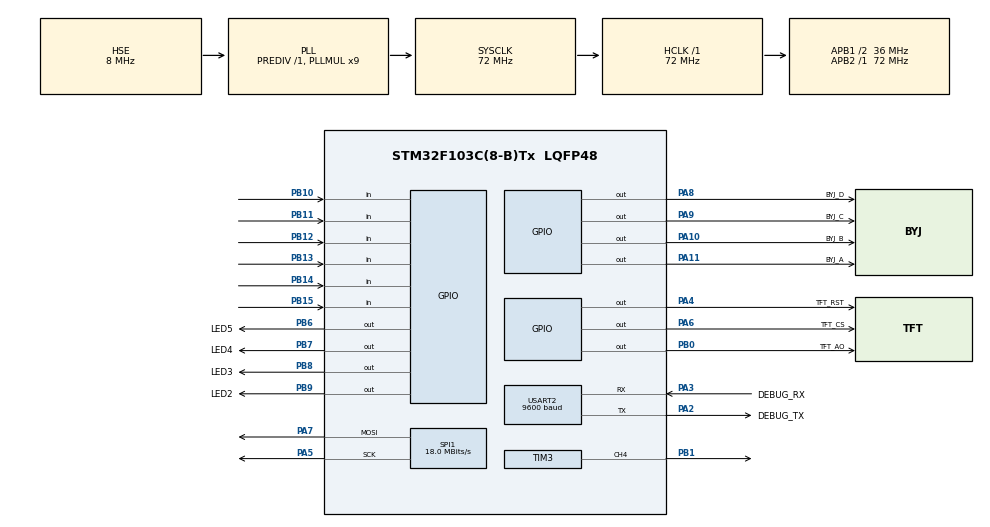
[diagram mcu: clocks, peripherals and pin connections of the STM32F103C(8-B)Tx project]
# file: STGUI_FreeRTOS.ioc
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FREERTOS.Queues01=Button_Index,1,uint8_t,0,Dynamic,NULL,NULL
FREERTOS.Tasks01=GUI_Task,0,1024,Start_GUI_Task,Default,NULL,Dynamic,NULL,NULL;Button_Scan,0,64,Start_Button_Scan,Default,NULL,Dynamic,NULL,NULL;LED_Task,0,64,Start_LED_Task,Default,NULL,Dynamic,NULL,NULL;BYJ_Forward,0,64,Start_BYJ_Forward,Default,NULL,Dynamic,NULL,NULL;BYJ_Backward,0,64,Start_BYJ_Backward,Default,NULL,Dynamic,NULL,NULL
FREERTOS.configMINIMAL_STACK_SIZE=64
FREERTOS.configTOTAL_HEAP_SIZE=10240
Mcu.Family=STM32F1
Mcu.Name=STM32F103C(8-B)Tx
Mcu.Package=LQFP48
NVIC.PriorityGroup=NVIC_PRIORITYGROUP_4
NVIC.TIM4_IRQn=true\:0\:0\:false\:false\:true\:false\:false
NVIC.TimeBase=TIM4_IRQn
NVIC.TimeBaseIP=TIM4
PA10.GPIO_Label=BYJ_B
PA10.GPIO_ModeDefaultOutputPP=GPIO_MODE_OUTPUT_PP
PA10.GPIO_Speed=GPIO_SPEED_FREQ_HIGH
PA10.PinState=GPIO_PIN_RESET
PA10.Signal=GPIO_Output
PA11.GPIO_Label=BYJ_A
PA11.GPIO_ModeDefaultOutputPP=GPIO_MODE_OUTPUT_PP
PA11.GPIO_Speed=GPIO_SPEED_FREQ_HIGH
PA11.PinState=GPIO_PIN_RESET
PA11.Signal=GPIO_Output
PA13.Mode=Serial_Wire
PA13.Signal=SYS_JTMS-SWDIO
PA14.Mode=Serial_Wire
PA14.Signal=SYS_JTCK-SWCLK
PA2.GPIO_Label=DEBUG_TX
PA2.Mode=Asynchronous
PA2.Signal=USART2_TX
PA3.GPIO_Label=DEBUG_RX
PA3.Mode=Asynchronous
PA3.Signal=USART2_RX
PA4.GPIO_Label=TFT_RST
PA4.GPIO_ModeDefaultOutputPP=GPIO_MODE_OUTPUT_PP
PA4.GPIO_Speed=GPIO_SPEED_FREQ_HIGH
PA4.PinState=GPIO_PIN_RESET
PA4.Signal=GPIO_Output
PA5.Mode=TX_Only_Simplex_Unidirect_Master
PA5.Signal=SPI1_SCK
PA6.GPIO_Label=TFT_CS
PA6.GPIO_ModeDefaultOutputPP=GPIO_MODE_OUTPUT_PP
PA6.GPIO_Speed=GPIO_SPEED_FREQ_HIGH
PA6.PinState=GPIO_PIN_RESET
PA6.Signal=GPIO_Output
PA7.Mode=TX_Only_Simplex_Unidirect_Master
PA7.Signal=SPI1_MOSI
PA8.GPIO_Label=BYJ_D
PA8.GPIO_ModeDefaultOutputPP=GPIO_MODE_OUTPUT_PP
PA8.GPIO_Speed=GPIO_SPEED_FREQ_HIGH
PA8.PinState=GPIO_PIN_RESET
PA8.Signal=GPIO_Output
PA9.GPIO_Label=BYJ_C
PA9.GPIO_ModeDefaultOutputPP=GPIO_MODE_OUTPUT_PP
PA9.GPIO_Speed=GPIO_SPEED_FREQ_HIGH
PA9.PinState=GPIO_PIN_RESET
PA9.Signal=GPIO_Output
PB0.GPIO_Label=TFT_AO
PB0.GPIO_Speed=GPIO_SPEED_FREQ_HIGH
PB0.Signal=GPIO_Output
PB1.Signal=S_TIM3_CH4
PB10.GPIO_Mode=GPIO_MODE_INPUT
PB10.GPIO_PuPd=GPIO_PULLUP
PB10.Signal=GPIO_Input
PB11.GPIO_Mode=GPIO_MODE_INPUT
PB11.GPIO_PuPd=GPIO_PULLUP
PB11.Signal=GPIO_Input
PB12.GPIO_Mode=GPIO_MODE_INPUT
PB12.GPIO_PuPd=GPIO_PULLUP
PB12.Signal=GPIO_Input
PB13.GPIO_Mode=GPIO_MODE_INPUT
PB13.GPIO_PuPd=GPIO_PULLUP
PB13.Signal=GPIO_Input
PB14.GPIO_Mode=GPIO_MODE_INPUT
PB14.GPIO_PuPd=GPIO_PULLUP
PB14.Signal=GPIO_Input
PB15.GPIO_Mode=GPIO_MODE_INPUT
PB15.GPIO_PuPd=GPIO_PULLUP
PB15.Signal=GPIO_Input
PB6.GPIO_Label=LED5
PB6.GPIO_Speed=GPIO_SPEED_FREQ_HIGH
PB6.PinState=GPIO_PIN_SET
PB6.Signal=GPIO_Output
PB7.GPIO_Label=LED4
PB7.GPIO_Speed=GPIO_SPEED_FREQ_HIGH
PB7.PinState=GPIO_PIN_SET
PB7.Signal=GPIO_Output
PB8.GPIO_Label=LED3
PB8.GPIO_Speed=GPIO_SPEED_FREQ_HIGH
PB8.PinState=GPIO_PIN_SET
PB8.Signal=GPIO_Output
PB9.GPIO_Label=LED2
PB9.GPIO_Speed=GPIO_SPEED_FREQ_HIGH
PB9.PinState=GPIO_PIN_SET
PB9.Signal=GPIO_Output
PC14-OSC32_IN.Mode=LSE-External-Oscillator
PC14-OSC32_IN.Signal=RCC_OSC32_IN
PC15-OSC32_OUT.Mode=LSE-External-Oscillator
PC15-OSC32_OUT.Signal=RCC_OSC32_OUT
PD0-OSC_IN.Mode=HSE-External-Oscillator
PD0-OSC_IN.Signal=RCC_OSC_IN
PD1-OSC_OUT.Mode=HSE-External-Oscillator
PD1-OSC_OUT.Signal=RCC_OSC_OUT
ProjectManager.HeapSize=0x200
ProjectManager.StackSize=0x400
ProjectManager.TargetToolchain=MDK-ARM V5
RCC.AHBFreq_Value=72000000
RCC.APB1CLKDivider=RCC_HCLK_DIV2
RCC.APB1Freq_Value=36000000
RCC.APB1TimFreq_Value=72000000
RCC.APB2Freq_Value=72000000
RCC.APB2TimFreq_Value=72000000
RCC.HCLKFreq_Value=72000000
RCC.PLLMUL=RCC_PLL_MUL9
RCC.PLLSourceVirtual=RCC_PLLSOURCE_HSE
RCC.SYSCLKFreq_VALUE=72000000
RCC.SYSCLKSource=RCC_SYSCLKSOURCE_PLLCLK
RCC.USBFreq_Value=72000000
SH.S_TIM3_CH4.0=TIM3_CH4,PWM Generation4 CH4
SPI1.BaudRatePrescaler=SPI_BAUDRATEPRESCALER_4
SPI1.CLKPhase=SPI_PHASE_2EDGE
SPI1.CLKPolarity=SPI_POLARITY_HIGH
SPI1.CalculateBaudRate=18.0 MBits/s
SPI1.Direction=SPI_DIRECTION_2LINES
SPI1.Mode=SPI_MODE_MASTER
SPI1.VirtualType=VM_MASTER
TIM3.Channel-PWM\ Generation4\ CH4=TIM_CHANNEL_4
TIM3.Period=11
TIM3.Prescaler=65535
TIM3.Pulse-PWM\ Generation4\ CH4=11
USART2.BaudRate=9600
USART2.VirtualMode=VM_ASYNC
VP_CRC_VS_CRC.Mode=CRC_Activate
VP_FREERTOS_VS_ENABLE.Mode=Enabled
VP_SYS_VS_tim4.Mode=TIM4
VP_TIM3_VS_ClockSourceINT.Mode=Internal
board=STGUI_FreeRTOS

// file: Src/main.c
/**
  ******************************************************************************
  * @file           : main.c
  * @brief          : Main program body
  ******************************************************************************
  * This notice applies to any and all portions of this file
  * that are not between comment pairs USER CODE BEGIN and
  * USER CODE END. Other portions of this file, whether
  * inserted by the user or by software development tools
  * are owned by their respective copyright owners.
  *
  * Copyright (c) 2018 STMicroelectronics International N.V.
  * All rights reserved.
  *
  * Redistribution and use in source and binary forms, with or without
  * modification, are permitted, provided that the following conditions are met:
  *
  * 1. Redistribution of source code must retain the above copyright notice,
  *    this list of conditions and the following disclaimer.
  * 2. Redistributions in binary form must reproduce the above copyright notice,
  *    this list of conditions and the following disclaimer in the documentation
  *    and/or other materials provided with the distribution.
  * 3. Neither the name of STMicroelectronics nor the names of other
  *    contributors to this software may be used to endorse or promote products
  *    derived from this software without specific written permission.
  * 4. This software, including modifications and/or derivative works of this
  *    software, must execute solely and exclusively on microcontroller or
  *    microprocessor devices manufactured by or for STMicroelectronics.
  * 5. Redistribution and use of this software other than as permitted under
  *    this license is void and will automatically terminate your rights under
  *    this license.
  *
  * THIS SOFTWARE IS PROVIDED BY STMICROELECTRONICS AND CONTRIBUTORS "AS IS"
  * AND ANY EXPRESS, IMPLIED OR STATUTORY WARRANTIES, INCLUDING, BUT NOT
  * LIMITED TO, THE IMPLIED WARRANTIES OF MERCHANTABILITY, FITNESS FOR A
  * PARTICULAR PURPOSE AND NON-INFRINGEMENT OF THIRD PARTY INTELLECTUAL PROPERTY
  * RIGHTS ARE DISCLAIMED TO THE FULLEST EXTENT PERMITTED BY LAW. IN NO EVENT
  * SHALL STMICROELECTRONICS OR CONTRIBUTORS BE LIABLE FOR ANY DIRECT, INDIRECT,
  * INCIDENTAL, SPECIAL, EXEMPLARY, OR CONSEQUENTIAL DAMAGES (INCLUDING, BUT NOT
  * LIMITED TO, PROCUREMENT OF SUBSTITUTE GOODS OR SERVICES; LOSS OF USE, DATA,
  * OR PROFITS; OR BUSINESS INTERRUPTION) HOWEVER CAUSED AND ON ANY THEORY OF
  * LIABILITY, WHETHER IN CONTRACT, STRICT LIABILITY, OR TORT (INCLUDING
  * NEGLIGENCE OR OTHERWISE) ARISING IN ANY WAY OUT OF THE USE OF THIS SOFTWARE,
  * EVEN IF ADVISED OF THE POSSIBILITY OF SUCH DAMAGE.
  *
  ******************************************************************************
  */
#include "main.h"
#include "stm32f1xx_hal.h"
#include "cmsis_os.h"

/* USER CODE BEGIN Includes */
#include "GUI.h"
#include "BSP_Button.h"
#include "BSP_LED.h"
#include "DIALOG.h"
#include "BSP_24BYJ.h"
/* USER CODE END Includes */

CRC_HandleTypeDef hcrc;

SPI_HandleTypeDef hspi1;

TIM_HandleTypeDef htim3;

UART_HandleTypeDef huart2;

osThreadId GUI_TaskHandle;
osThreadId Button_ScanHandle;
osThreadId LED_TaskHandle;
osThreadId BYJ_ForwardHandle;
osThreadId BYJ_BackwardHandle;
osMessageQId Button_IndexHandle;

/* USER CODE BEGIN PV */
/* Private variables ---------------------------------------------------------*/

/* USER CODE END PV */

void SystemClock_Config(void);
static void MX_GPIO_Init(void);
static void MX_USART2_UART_Init(void);
static void MX_CRC_Init(void);
static void MX_TIM3_Init(void);
static void MX_SPI1_Init(void);
void Start_GUI_Task(void const * argument);
void Start_Button_Scan(void const * argument);
void Start_LED_Task(void const * argument);
void Start_BYJ_Forward(void const * argument);
void Start_BYJ_Backward(void const * argument);

void HAL_TIM_MspPostInit(TIM_HandleTypeDef *htim);

/* USER CODE BEGIN PFP */
/* Private function prototypes -----------------------------------------------*/
WM_HWIN CreateWindow(void);
/* USER CODE END PFP */

int main(void)
{

  /* MCU Configuration----------------------------------------------------------*/

  /* Reset of all peripherals, Initializes the Flash interface and the Systick. */
  HAL_Init();

  /* Configure the system clock */
  SystemClock_Config();

  /* Initialize all configured peripherals */
  MX_GPIO_Init();
  MX_USART2_UART_Init();
  MX_CRC_Init();
  MX_TIM3_Init();
  MX_SPI1_Init();
  /* USER CODE BEGIN 2 */
   HAL_TIM_Base_Start(&htim3);
   HAL_TIM_PWM_Start(&htim3,TIM_CHANNEL_4);

   __HAL_RCC_CRC_CLK_ENABLE();
  /* USER CODE END 2 */

  /* Create the thread(s) */
  /* definition and creation of GUI_Task */
  osThreadDef(GUI_Task, Start_GUI_Task, osPriorityNormal, 0, 1024);
  GUI_TaskHandle = osThreadCreate(osThread(GUI_Task), NULL);

  /* definition and creation of Button_Scan */
  osThreadDef(Button_Scan, Start_Button_Scan, osPriorityNormal, 0, 64);
  Button_ScanHandle = osThreadCreate(osThread(Button_Scan), NULL);

  /* definition and creation of LED_Task */
  osThreadDef(LED_Task, Start_LED_Task, osPriorityNormal, 0, 64);
  LED_TaskHandle = osThreadCreate(osThread(LED_Task), NULL);

  /* definition and creation of BYJ_Forward */
  osThreadDef(BYJ_Forward, Start_BYJ_Forward, osPriorityNormal, 0, 64);
  BYJ_ForwardHandle = osThreadCreate(osThread(BYJ_Forward), NULL);

  /* definition and creation of BYJ_Backward */
  osThreadDef(BYJ_Backward, Start_BYJ_Backward, osPriorityNormal, 0, 64);
  BYJ_BackwardHandle = osThreadCreate(osThread(BYJ_Backward), NULL);

  /* Create the queue(s) */
  /* definition and creation of Button_Index */
  osMessageQDef(Button_Index, 1, uint8_t);
  Button_IndexHandle = osMessageCreate(osMessageQ(Button_Index), NULL);

  /* Start scheduler */
  osKernelStart();

  /* We should never get here as control is now taken by the scheduler */

  /* Infinite loop */
  while (1)
  {

  }

}

void SystemClock_Config(void)
{

  RCC_OscInitTypeDef RCC_OscInitStruct;
  RCC_ClkInitTypeDef RCC_ClkInitStruct;

    /**Initializes the CPU, AHB and APB busses clocks
    */
  RCC_OscInitStruct.OscillatorType = RCC_OSCILLATORTYPE_HSE;
  RCC_OscInitStruct.HSEState = RCC_HSE_ON;
  RCC_OscInitStruct.HSEPredivValue = RCC_HSE_PREDIV_DIV1;
  RCC_OscInitStruct.HSIState = RCC_HSI_ON;
  RCC_OscInitStruct.PLL.PLLState = RCC_PLL_ON;
  RCC_OscInitStruct.PLL.PLLSource = RCC_PLLSOURCE_HSE;
  RCC_OscInitStruct.PLL.PLLMUL = RCC_PLL_MUL9;
  if (HAL_RCC_OscConfig(&RCC_OscInitStruct) != HAL_OK)
  {
    _Error_Handler(__FILE__, __LINE__);
  }

    /**Initializes the CPU, AHB and APB busses clocks
    */
  RCC_ClkInitStruct.ClockType = RCC_CLOCKTYPE_HCLK|RCC_CLOCKTYPE_SYSCLK
                              |RCC_CLOCKTYPE_PCLK1|RCC_CLOCKTYPE_PCLK2;
  RCC_ClkInitStruct.SYSCLKSource = RCC_SYSCLKSOURCE_PLLCLK;
  RCC_ClkInitStruct.AHBCLKDivider = RCC_SYSCLK_DIV1;
  RCC_ClkInitStruct.APB1CLKDivider = RCC_HCLK_DIV2;
  RCC_ClkInitStruct.APB2CLKDivider = RCC_HCLK_DIV1;

  if (HAL_RCC_ClockConfig(&RCC_ClkInitStruct, FLASH_LATENCY_2) != HAL_OK)
  {
    _Error_Handler(__FILE__, __LINE__);
  }

    /**Configure the Systick interrupt time
    */
  HAL_SYSTICK_Config(HAL_RCC_GetHCLKFreq()/1000);

    /**Configure the Systick
    */
  HAL_SYSTICK_CLKSourceConfig(SYSTICK_CLKSOURCE_HCLK);

  /* SysTick_IRQn interrupt configuration */
  HAL_NVIC_SetPriority(SysTick_IRQn, 15, 0);
}

/* CRC init function */
static void MX_CRC_Init(void)
{

  hcrc.Instance = CRC;
  if (HAL_CRC_Init(&hcrc) != HAL_OK)
  {
    _Error_Handler(__FILE__, __LINE__);
  }

}

/* SPI1 init function */
static void MX_SPI1_Init(void)
{

  /* SPI1 parameter configuration*/
  hspi1.Instance = SPI1;
  hspi1.Init.Mode = SPI_MODE_MASTER;
  hspi1.Init.Direction = SPI_DIRECTION_2LINES;
  hspi1.Init.DataSize = SPI_DATASIZE_8BIT;
  hspi1.Init.CLKPolarity = SPI_POLARITY_HIGH;
  hspi1.Init.CLKPhase = SPI_PHASE_2EDGE;
  hspi1.Init.NSS = SPI_NSS_SOFT;
  hspi1.Init.BaudRatePrescaler = SPI_BAUDRATEPRESCALER_4;
  hspi1.Init.FirstBit = SPI_FIRSTBIT_MSB;
  hspi1.Init.TIMode = SPI_TIMODE_DISABLE;
  hspi1.Init.CRCCalculation = SPI_CRCCALCULATION_DISABLE;
  hspi1.Init.CRCPolynomial = 10;
  if (HAL_SPI_Init(&hspi1) != HAL_OK)
  {
    _Error_Handler(__FILE__, __LINE__);
  }

}

/* TIM3 init function */
static void MX_TIM3_Init(void)
{

  TIM_ClockConfigTypeDef sClockSourceConfig;
  TIM_MasterConfigTypeDef sMasterConfig;
  TIM_OC_InitTypeDef sConfigOC;

  htim3.Instance = TIM3;
  htim3.Init.Prescaler = 65535;
  htim3.Init.CounterMode = TIM_COUNTERMODE_UP;
  htim3.Init.Period = 11;
  htim3.Init.ClockDivision = TIM_CLOCKDIVISION_DIV1;
  htim3.Init.AutoReloadPreload = TIM_AUTORELOAD_PRELOAD_DISABLE;
  if (HAL_TIM_Base_Init(&htim3) != HAL_OK)
  {
    _Error_Handler(__FILE__, __LINE__);
  }

  sClockSourceConfig.ClockSource = TIM_CLOCKSOURCE_INTERNAL;
  if (HAL_TIM_ConfigClockSource(&htim3, &sClockSourceConfig) != HAL_OK)
  {
    _Error_Handler(__FILE__, __LINE__);
  }

  if (HAL_TIM_PWM_Init(&htim3) != HAL_OK)
  {
    _Error_Handler(__FILE__, __LINE__);
  }

  sMasterConfig.MasterOutputTrigger = TIM_TRGO_RESET;
  sMasterConfig.MasterSlaveMode = TIM_MASTERSLAVEMODE_DISABLE;
  if (HAL_TIMEx_MasterConfigSynchronization(&htim3, &sMasterConfig) != HAL_OK)
  {
    _Error_Handler(__FILE__, __LINE__);
  }

  sConfigOC.OCMode = TIM_OCMODE_PWM1;
  sConfigOC.Pulse = 11;
  sConfigOC.OCPolarity = TIM_OCPOLARITY_HIGH;
  sConfigOC.OCFastMode = TIM_OCFAST_DISABLE;
  if (HAL_TIM_PWM_ConfigChannel(&htim3, &sConfigOC, TIM_CHANNEL_4) != HAL_OK)
  {
    _Error_Handler(__FILE__, __LINE__);
  }

  HAL_TIM_MspPostInit(&htim3);

}

/* USART2 init function */
static void MX_USART2_UART_Init(void)
{

  huart2.Instance = USART2;
  huart2.Init.BaudRate = 9600;
  huart2.Init.WordLength = UART_WORDLENGTH_8B;
  huart2.Init.StopBits = UART_STOPBITS_1;
  huart2.Init.Parity = UART_PARITY_NONE;
  huart2.Init.Mode = UART_MODE_TX_RX;
  huart2.Init.HwFlowCtl = UART_HWCONTROL_NONE;
  huart2.Init.OverSampling = UART_OVERSAMPLING_16;
  if (HAL_UART_Init(&huart2) != HAL_OK)
  {
    _Error_Handler(__FILE__, __LINE__);
  }

}

/** Configure pins as
        * Analog
        * Input
        * Output
        * EVENT_OUT
        * EXTI
*/
static void MX_GPIO_Init(void)
{

  GPIO_InitTypeDef GPIO_InitStruct;

  /* GPIO Ports Clock Enable */
  __HAL_RCC_GPIOC_CLK_ENABLE();
  __HAL_RCC_GPIOD_CLK_ENABLE();
  __HAL_RCC_GPIOA_CLK_ENABLE();
  __HAL_RCC_GPIOB_CLK_ENABLE();

  /*Configure GPIO pin Output Level */
  HAL_GPIO_WritePin(GPIOA, TFT_RST_Pin|TFT_CS_Pin|BYJ_D_Pin|BYJ_C_Pin
                          |BYJ_B_Pin|BYJ_A_Pin, GPIO_PIN_RESET);

  /*Configure GPIO pin Output Level */
  HAL_GPIO_WritePin(TFT_AO_GPIO_Port, TFT_AO_Pin, GPIO_PIN_RESET);

  /*Configure GPIO pin Output Level */
  HAL_GPIO_WritePin(GPIOB, LED5_Pin|LED4_Pin|LED3_Pin|LED2_Pin, GPIO_PIN_SET);

  /*Configure GPIO pins : TFT_RST_Pin TFT_CS_Pin BYJ_D_Pin BYJ_C_Pin
                           BYJ_B_Pin BYJ_A_Pin */
  GPIO_InitStruct.Pin = TFT_RST_Pin|TFT_CS_Pin|BYJ_D_Pin|BYJ_C_Pin
                          |BYJ_B_Pin|BYJ_A_Pin;
  GPIO_InitStruct.Mode = GPIO_MODE_OUTPUT_PP;
  GPIO_InitStruct.Speed = GPIO_SPEED_FREQ_HIGH;
  HAL_GPIO_Init(GPIOA, &GPIO_InitStruct);

  /*Configure GPIO pins : TFT_AO_Pin LED5_Pin LED4_Pin LED3_Pin
                           LED2_Pin */
  GPIO_InitStruct.Pin = TFT_AO_Pin|LED5_Pin|LED4_Pin|LED3_Pin
                          |LED2_Pin;
  GPIO_InitStruct.Mode = GPIO_MODE_OUTPUT_PP;
  GPIO_InitStruct.Speed = GPIO_SPEED_FREQ_HIGH;
  HAL_GPIO_Init(GPIOB, &GPIO_InitStruct);

  /*Configure GPIO pins : PB10 PB11 PB12 PB13
                           PB14 PB15 */
  GPIO_InitStruct.Pin = GPIO_PIN_10|GPIO_PIN_11|GPIO_PIN_12|GPIO_PIN_13
                          |GPIO_PIN_14|GPIO_PIN_15;
  GPIO_InitStruct.Mode = GPIO_MODE_INPUT;
  GPIO_InitStruct.Pull = GPIO_PULLUP;
  HAL_GPIO_Init(GPIOB, &GPIO_InitStruct);

}

/* Start_GUI_Task function */
void Start_GUI_Task(void const * argument)
{

  /* USER CODE BEGIN 5 */
  osEvent Button_Event;

    GUI_Init();
    GUI_SetColor(GUI_BLACK);

    GUI_Clear();
    CreateWindow();
  /* Infinite loop */
  for(;;)
  {
    Button_Event=osMessageGet(Button_IndexHandle,1);
    CD(Button_Event.value.v);
    GUI_Delay(100);
  }
  /* USER CODE END 5 */
}

/* Start_Button_Scan function */
void Start_Button_Scan(void const * argument)
{
  /* USER CODE BEGIN Start_Button_Scan */

  /* Infinite loop */
  for(;;)
  {
     osMessagePut(Button_IndexHandle,Scan_Button(),1);
     osDelay(200);
  }
  /* USER CODE END Start_Button_Scan */
}

/* Start_LED_Task function */
void Start_LED_Task(void const * argument)
{
  /* USER CODE BEGIN Start_LED_Task */
  /* Infinite loop */
  for(;;)
  {
     Forward_Blink(500);
     osDelay(300);
  }
  /* USER CODE END Start_LED_Task */
}

/* Start_BYJ_Forward function */
void Start_BYJ_Forward(void const * argument)
{
  /* USER CODE BEGIN Start_BYJ_Forward */
  vTaskSuspend(BYJ_ForwardHandle);
  /* Infinite loop */
  for(;;)
  {
   BYJ_Rotate_Clockwise( 2 );
   osDelay(10);
  }
  /* USER CODE END Start_BYJ_Forward */
}

/* Start_BYJ_Backward function */
void Start_BYJ_Backward(void const * argument)
{
  /* USER CODE BEGIN Start_BYJ_Backward */
vTaskSuspend(BYJ_BackwardHandle);

  /* Infinite loop */
  for(;;)
  {
    BYJ_Rotate_Anticlockwise( 2 );
    osDelay(10);
  }
  /* USER CODE END Start_BYJ_Backward */
}

void HAL_TIM_PeriodElapsedCallback(TIM_HandleTypeDef *htim)
{
  if (htim->Instance == TIM4) {
    HAL_IncTick();
  }
}

void _Error_Handler(char *file, int line)
{
  while(1)
  {
  }
}

/************************ (C) COPYRIGHT STMicroelectronics *****END OF FILE****/
